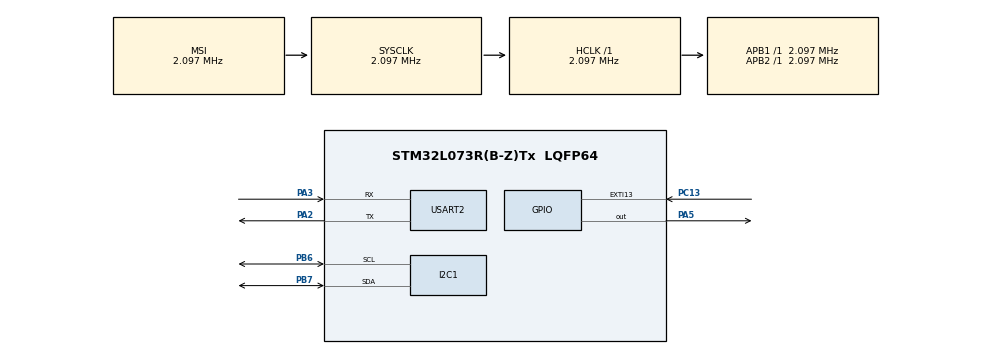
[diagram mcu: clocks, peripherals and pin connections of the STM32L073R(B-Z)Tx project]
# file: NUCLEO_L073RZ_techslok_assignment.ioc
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I2C1.Timing=0x00000608
Mcu.Family=STM32L0
Mcu.Name=STM32L073R(B-Z)Tx
Mcu.Package=LQFP64
NVIC.EXTI4_15_IRQn=true\:0\:0\:false\:false\:true\:true\:true\:true
NVIC.I2C1_IRQn=true\:0\:0\:false\:false\:true\:true\:true\:true
NVIC.RCC_CRS_IRQn=true\:0\:0\:false\:false\:true\:true\:false\:true
NVIC.RTC_IRQn=true\:0\:0\:false\:false\:true\:true\:true\:true
NVIC.USART2_IRQn=true\:0\:0\:false\:false\:true\:true\:true\:true
PA2.Mode=Asynchronous
PA2.Signal=USART2_TX
PA3.Mode=Asynchronous
PA3.Signal=USART2_RX
PA5.Signal=GPIO_Output
PB6.Mode=I2C
PB6.Signal=I2C1_SCL
PB7.Mode=I2C
PB7.Signal=I2C1_SDA
PC13.Signal=GPXTI13
PC14-OSC32_IN.Mode=LSE-External-Oscillator
PC14-OSC32_IN.Signal=RCC_OSC32_IN
PC15-OSC32_OUT.Mode=LSE-External-Oscillator
PC15-OSC32_OUT.Signal=RCC_OSC32_OUT
ProjectManager.HeapSize=0x200
ProjectManager.StackSize=0x400
ProjectManager.TargetToolchain=STM32CubeIDE
RCC.AHBFreq_Value=2097000
RCC.APB1Freq_Value=2097000
RCC.APB1TimFreq_Value=2097000
RCC.APB2Freq_Value=2097000
RCC.APB2TimFreq_Value=2097000
RCC.HSE_VALUE=8000000
RCC.HSI16_VALUE=16000000
RCC.HSI48_VALUE=48000000
RCC.HSI_VALUE=16000000
RCC.MSI_VALUE=2097000
RCC.RTCClockSelection=RCC_RTCCLKSOURCE_LSE
RCC.SYSCLKFreq_VALUE=2097000
RCC.VCOOutputFreq_Value=48000000
USART2.VirtualMode-Asynchronous=VM_ASYNC
VP_RTC_VS_RTC_Activate.Mode=RTC_Enabled
VP_RTC_VS_RTC_WakeUp_intern.Mode=WakeUp
board=custom

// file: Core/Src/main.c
/* USER CODE BEGIN Header */
/**
  ******************************************************************************
  * @file           : main.c
  * @brief          : Main program body
  ******************************************************************************
  * @attention
  *
  * Copyright (c) 2025 STMicroelectronics.
  * All rights reserved.
  *
  * This software is licensed under terms that can be found in the LICENSE file
  * in the root directory of this software component.
  * If no LICENSE file comes with this software, it is provided AS-IS.
  *
  ******************************************************************************
  */
#include <stdio.h>
#include <ctype.h>
/* USER CODE END Header */
#include "main.h"
#include "uart_command.h"

I2C_HandleTypeDef hi2c1;

RTC_HandleTypeDef hrtc;

UART_HandleTypeDef huart2;

uint32_t wake_end_tick;

void SystemClock_Config(void);
static void MX_GPIO_Init(void);
static void MX_I2C1_Init(void);
static void MX_USART2_UART_Init(void);
static void MX_RTC_Init(void);
/* USER CODE BEGIN PFP */
void persistence_init(void);
uint8_t mpu6050_init(void);
/* USER CODE END PFP */

int main(void)
{

  /* MCU Configuration--------------------------------------------------------*/

  /* Reset of all peripherals, Initializes the Flash interface and the Systick. */
  HAL_Init();

  /* Configure the system clock */
  SystemClock_Config();

  /* Initialize all configured peripherals */
  MX_GPIO_Init();
  MX_I2C1_Init();
  MX_USART2_UART_Init();
  MX_RTC_Init();
  /* USER CODE BEGIN 2 */

  /* Initialize persist counter and MPU6050 */
  persistence_init(); // Load wake count and timing intervals
  mpu6050_init();     // Initialize the MPU6050

  // On power-up/reset, enter Wake state.
  g_current_state = STATE_WAKE;

  /* USER CODE END 2 */

  /* Infinite loop */

  // --- Main State Machine Loop ---
  wake_end_tick = HAL_GetTick() + (g_awake_interval_s * 1000);

  while (1)
  {

    /* USER CODE BEGIN 3 */
	  switch (g_current_state) {
		  case STATE_WAKE:
			  handle_wake_state();

			  // Check for auto-sleep timer expiry
			  if (HAL_GetTick() >= wake_end_tick) {
				  // This handles the initial 10s auto-sleep and the periodic sleep
				  printf("Awake interval elapsed. Entering Sleep.\r\n");
				  enter_sleep();
			  }
			  break;

		  case STATE_SLEEP:
			  // Nothing happens here in Run mode; the MCU is already sleeping.
			  // We just loop until an interrupt wakes us.
			  HAL_Delay(10); // A tiny delay to prevent hard-looping if state is somehow stuck
			  break;
	  }
  }
  /* USER CODE END 3 */
}

void SystemClock_Config(void)
{
  RCC_OscInitTypeDef RCC_OscInitStruct = {0};
  RCC_ClkInitTypeDef RCC_ClkInitStruct = {0};
  RCC_PeriphCLKInitTypeDef PeriphClkInit = {0};

  /** Configure the main internal regulator output voltage
  */
  __HAL_PWR_VOLTAGESCALING_CONFIG(PWR_REGULATOR_VOLTAGE_SCALE1);

  /** Configure LSE Drive Capability
  */
  HAL_PWR_EnableBkUpAccess();
  __HAL_RCC_LSEDRIVE_CONFIG(RCC_LSEDRIVE_LOW);

  /** Initializes the RCC Oscillators according to the specified parameters
  * in the RCC_OscInitTypeDef structure.
  */
  RCC_OscInitStruct.OscillatorType = RCC_OSCILLATORTYPE_LSE|RCC_OSCILLATORTYPE_MSI;
  RCC_OscInitStruct.LSEState = RCC_LSE_ON;
  RCC_OscInitStruct.MSIState = RCC_MSI_ON;
  RCC_OscInitStruct.MSICalibrationValue = 0;
  RCC_OscInitStruct.MSIClockRange = RCC_MSIRANGE_5;
  RCC_OscInitStruct.PLL.PLLState = RCC_PLL_NONE;
  if (HAL_RCC_OscConfig(&RCC_OscInitStruct) != HAL_OK)
  {
    Error_Handler();
  }

  /** Initializes the CPU, AHB and APB buses clocks
  */
  RCC_ClkInitStruct.ClockType = RCC_CLOCKTYPE_HCLK|RCC_CLOCKTYPE_SYSCLK
                              |RCC_CLOCKTYPE_PCLK1|RCC_CLOCKTYPE_PCLK2;
  RCC_ClkInitStruct.SYSCLKSource = RCC_SYSCLKSOURCE_MSI;
  RCC_ClkInitStruct.AHBCLKDivider = RCC_SYSCLK_DIV1;
  RCC_ClkInitStruct.APB1CLKDivider = RCC_HCLK_DIV1;
  RCC_ClkInitStruct.APB2CLKDivider = RCC_HCLK_DIV1;

  if (HAL_RCC_ClockConfig(&RCC_ClkInitStruct, FLASH_LATENCY_0) != HAL_OK)
  {
    Error_Handler();
  }
  PeriphClkInit.PeriphClockSelection = RCC_PERIPHCLK_USART2|RCC_PERIPHCLK_I2C1
                              |RCC_PERIPHCLK_RTC;
  PeriphClkInit.Usart2ClockSelection = RCC_USART2CLKSOURCE_PCLK1;
  PeriphClkInit.I2c1ClockSelection = RCC_I2C1CLKSOURCE_PCLK1;
  PeriphClkInit.RTCClockSelection = RCC_RTCCLKSOURCE_LSE;
  if (HAL_RCCEx_PeriphCLKConfig(&PeriphClkInit) != HAL_OK)
  {
    Error_Handler();
  }
}

static void MX_I2C1_Init(void)
{

  hi2c1.Instance = I2C1;
  hi2c1.Init.Timing = 0x00000608;
  hi2c1.Init.OwnAddress1 = 0;
  hi2c1.Init.AddressingMode = I2C_ADDRESSINGMODE_7BIT;
  hi2c1.Init.DualAddressMode = I2C_DUALADDRESS_DISABLE;
  hi2c1.Init.OwnAddress2 = 0;
  hi2c1.Init.OwnAddress2Masks = I2C_OA2_NOMASK;
  hi2c1.Init.GeneralCallMode = I2C_GENERALCALL_DISABLE;
  hi2c1.Init.NoStretchMode = I2C_NOSTRETCH_DISABLE;
  if (HAL_I2C_Init(&hi2c1) != HAL_OK)
  {
    Error_Handler();
  }

  /** Configure Analogue filter
  */
  if (HAL_I2CEx_ConfigAnalogFilter(&hi2c1, I2C_ANALOGFILTER_ENABLE) != HAL_OK)
  {
    Error_Handler();
  }

  /** Configure Digital filter
  */
  if (HAL_I2CEx_ConfigDigitalFilter(&hi2c1, 0) != HAL_OK)
  {
    Error_Handler();
  }

}

static void MX_RTC_Init(void)
{

  /** Initialize RTC Only
  */
  hrtc.Instance = RTC;
  hrtc.Init.HourFormat = RTC_HOURFORMAT_24;
  hrtc.Init.AsynchPrediv = 127;
  hrtc.Init.SynchPrediv = 255;
  hrtc.Init.OutPut = RTC_OUTPUT_DISABLE;
  hrtc.Init.OutPutRemap = RTC_OUTPUT_REMAP_NONE;
  hrtc.Init.OutPutPolarity = RTC_OUTPUT_POLARITY_HIGH;
  hrtc.Init.OutPutType = RTC_OUTPUT_TYPE_OPENDRAIN;
  if (HAL_RTC_Init(&hrtc) != HAL_OK)
  {
    Error_Handler();
  }

  /** Enable the WakeUp
  */
  if (HAL_RTCEx_SetWakeUpTimer_IT(&hrtc, 0, RTC_WAKEUPCLOCK_RTCCLK_DIV16) != HAL_OK)
  {
    Error_Handler();
  }

}

static void MX_USART2_UART_Init(void)
{

  huart2.Instance = USART2;
  huart2.Init.BaudRate = 115200;
  huart2.Init.WordLength = UART_WORDLENGTH_8B;
  huart2.Init.StopBits = UART_STOPBITS_1;
  huart2.Init.Parity = UART_PARITY_NONE;
  huart2.Init.Mode = UART_MODE_TX_RX;
  huart2.Init.HwFlowCtl = UART_HWCONTROL_NONE;
  huart2.Init.OverSampling = UART_OVERSAMPLING_16;
  huart2.Init.OneBitSampling = UART_ONE_BIT_SAMPLE_DISABLE;
  huart2.AdvancedInit.AdvFeatureInit = UART_ADVFEATURE_NO_INIT;
  if (HAL_UART_Init(&huart2) != HAL_OK)
  {
    Error_Handler();
  }

}

static void MX_GPIO_Init(void)
{
  GPIO_InitTypeDef GPIO_InitStruct = {0};

  /* GPIO Ports Clock Enable */
  __HAL_RCC_GPIOC_CLK_ENABLE();
  __HAL_RCC_GPIOA_CLK_ENABLE();
  __HAL_RCC_GPIOB_CLK_ENABLE();

  /*Configure GPIO pin Output Level */
  HAL_GPIO_WritePin(GPIOA, GPIO_PIN_5, GPIO_PIN_RESET);

  /*Configure GPIO pin : PC13 */
  GPIO_InitStruct.Pin = GPIO_PIN_13;
  GPIO_InitStruct.Mode = GPIO_MODE_IT_RISING;
  GPIO_InitStruct.Pull = GPIO_NOPULL;
  HAL_GPIO_Init(GPIOC, &GPIO_InitStruct);

  /*Configure GPIO pin : PA5 */
  GPIO_InitStruct.Pin = GPIO_PIN_5;
  GPIO_InitStruct.Mode = GPIO_MODE_OUTPUT_PP;
  GPIO_InitStruct.Pull = GPIO_NOPULL;
  GPIO_InitStruct.Speed = GPIO_SPEED_FREQ_LOW;
  HAL_GPIO_Init(GPIOA, &GPIO_InitStruct);

  /* EXTI interrupt init*/
  HAL_NVIC_SetPriority(EXTI4_15_IRQn, 0, 0);
  HAL_NVIC_EnableIRQ(EXTI4_15_IRQn);

}

/* USER CODE BEGIN 4 */

/**
  * @brief UART Receive Complete Callback: Called after every single byte is received.
  * @param huart: UART handle structure
  */
void HAL_UART_RxCpltCallback(UART_HandleTypeDef *huart) {
    static uint8_t buffer_index = 0;

    if (huart->Instance == huart2.Instance) {

        // 1. Check for command termination (Newline '\n' or Carriage Return '\r')
        if (g_rx_byte == '\r' || g_rx_byte == '\n') {
            if (buffer_index > 0) {
                g_command_buffer[buffer_index] = '\0'; // Null-terminate the string
                g_command_ready_flag = 1;              // Signal main loop to process
            }
            buffer_index = 0; // Reset index for the next command
        }
        // 2. Process incoming character
        else if (buffer_index < MAX_COMMAND_LENGTH) {
            // Convert to lowercase for case-insensitive matching
            g_command_buffer[buffer_index++] = tolower(g_rx_byte);
        } else {
            // Overflow: Reset buffer and ignore the command
            buffer_index = 0;
        }

        // 3. Restart the interrupt for the next byte (CRITICAL)
        HAL_UART_Receive_IT(&huart2, (uint8_t*)&g_rx_byte, 1);
    }
}

/* USER CODE END 4 */

void Error_Handler(void)
{
  __disable_irq();
  while (1)
  {
  }
}
